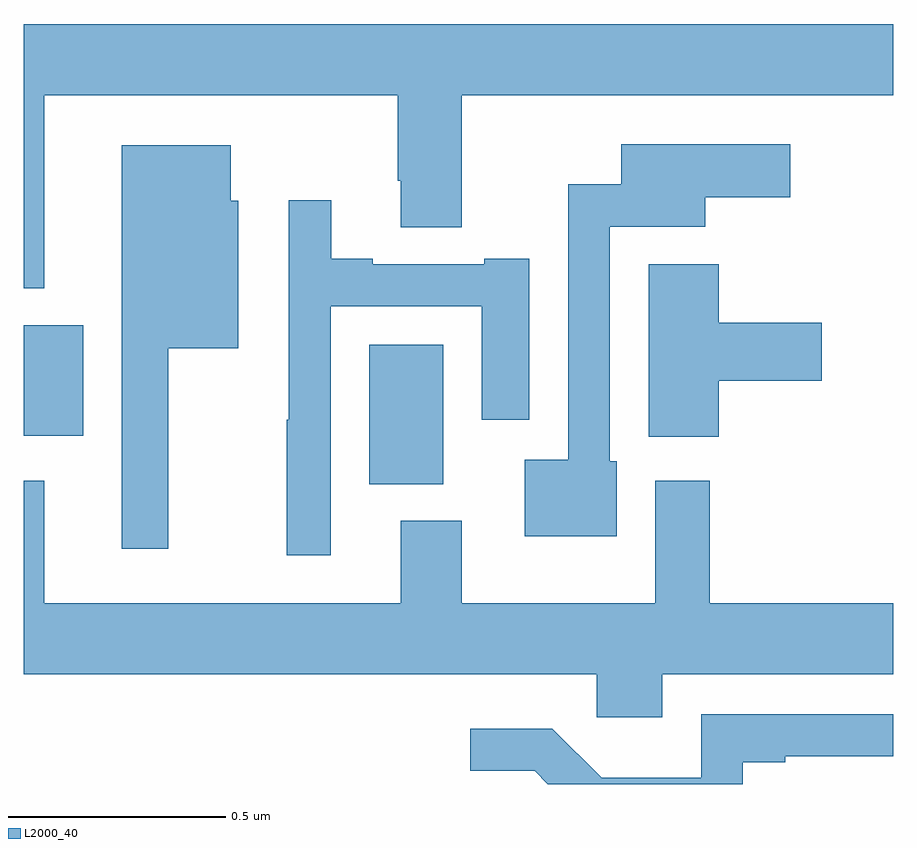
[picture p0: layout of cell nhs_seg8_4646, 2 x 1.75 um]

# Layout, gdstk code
import gdstk
lib = gdstk.Library(unit=1e-6, precision=1e-09)
def R(c, l, rs):  # rectangles x0, y0, x1, y1
    for r in rs: c.add(gdstk.rectangle(r[:2], r[2:], *l))
def P(c, l, *ps):  # polygons
    for p in ps: c.add(gdstk.Polygon(p, *l))
L2000_40 = (2000, 40)

nhs_seg8_4646 = lib.new_cell('nhs_seg8_4646')
R(nhs_seg8_4646, L2000_40, [(173.795,1131.59,173.965,1131.91), (173,1131.701,173.137,1131.955)])
P(nhs_seg8_4646, L2000_40, [(173.047,1132.484),(173.86,1132.484),(173.86,1132.288),(173.867,1132.288),(173.867,1132.18),(174.007,1132.18),(174.007,1132.484),(175,1132.484),(175,1132.648),(173,1132.648),(173,1132.04),(173.047,1132.04)],
  [(174.364,1131.642),(174.348,1131.642),(174.348,1132.182),(174.568,1132.182),(174.568,1132.25),(174.763,1132.25),(174.763,1132.372),(174.374,1132.372),(174.374,1132.28),(174.252,1132.28),(174.252,1131.646),(174.152,1131.646),(174.152,1131.47),(174.364,1131.47)],
  [(173.332,1131.902),(173.494,1131.902),(173.494,1132.242),(173.476,1132.242),(173.476,1132.369),(173.225,1132.369),(173.225,1131.441),(173.332,1131.441)],
  [(173.706,1131.999),(174.053,1131.999),(174.053,1131.738),(174.163,1131.738),(174.163,1132.108),(174.059,1132.108),(174.059,1132.095),(173.803,1132.095),(173.803,1132.108),(173.707,1132.108),(173.707,1132.243),(173.61,1132.243),(173.61,1131.738),(173.605,1131.738),(173.605,1131.426),(173.706,1131.426)],
  [(174.599,1131.827),(174.835,1131.827),(174.835,1131.961),(174.599,1131.961),(174.599,1132.096),(174.437,1132.096),(174.437,1131.699),(174.599,1131.699)],
  [(174.469,1131.152),(175,1131.152),(175,1131.316),(174.578,1131.316),(174.578,1131.598),(174.452,1131.598),(174.452,1131.316),(174.007,1131.316),(174.007,1131.505),(173.867,1131.505),(173.867,1131.316),(173.047,1131.316),(173.047,1131.598),(173,1131.598),(173,1131.152),(174.318,1131.152),(174.318,1131.054),(174.469,1131.054)],
  [(174.654,1130.95),(174.751,1130.95),(174.751,1130.964),(175,1130.964),(175,1131.06),(174.558,1131.06),(174.558,1130.914),(174.329,1130.914),(174.216,1131.027),(174.027,1131.027),(174.027,1130.93),(174.175,1130.93),(174.205,1130.9),(174.654,1130.9)])

lib.write_gds('nhs_seg8_4646.gds')
